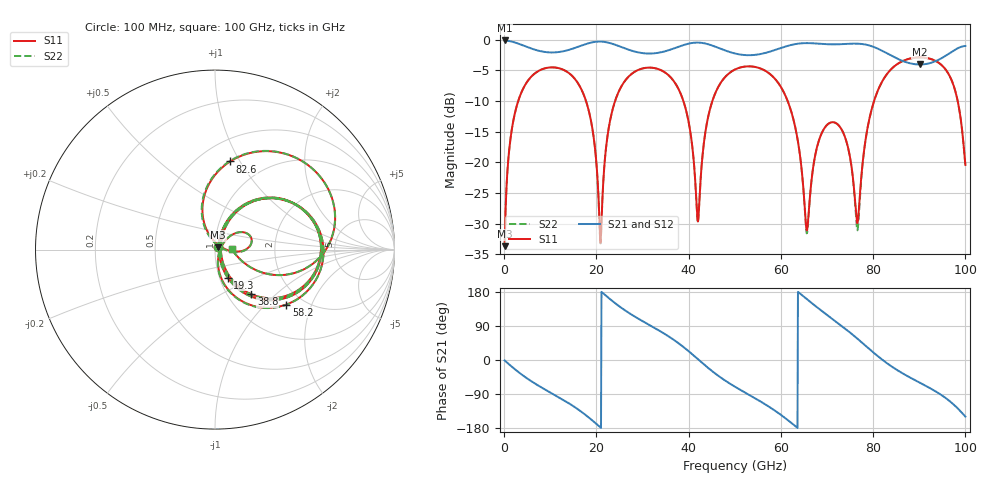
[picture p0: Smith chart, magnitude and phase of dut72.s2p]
! Touchstone file exported from HFSS 2026.1.0
!  File:  C:/ffzhzh/LocalFiles/Ansys_Project_Files/temp_train_TSV_RDL_72_1783449331_7600.aedt
!  Generated:  02:47:56 AM Jul  8, 2026
!  Design:  TSV_RDL
!  Project:  temp_train_TSV_RDL_72_1783449331_7600
! Variables:
!  h_bsmrdl = 3.91um
!  h_ox = 20um
!  h_rdl = 5um
!  h_sub = 68.58um
!  h_tmrdl = 2.14um
!  h_tsv = 68.58um
!  h_via = 3um
!  l_bsmrdl = 343.82um
!  l_sub = 2887.58um
!  l_tmrdl = 334.66um
!  m_sub = 200um
!  pitch = 57.7um
!  r_tsv = 10.38um
!  s_tmrdl = 10um
!  w_bsmrdl = 14.69um
!  w_sub = 500um
!  w_tmrdl = 24.47um
!  x_tsv_center1 = 346.895um
!  x_tsv_center2 = 705.405um
!  x_tsv_center3 = 1064.535um
!  x_tsv_center4 = 1423.045um
!  x_tsv_center5 = 1782.175um
!  x_tsv_center6 = 2140.685um
# GHz S MA R 50.000000
! Terminal data exported
! Port[1] = TM_RDL1_1_T1
! Port[2] = TM_RDL5_1_T1
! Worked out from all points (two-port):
!   1000 points, 100 MHz to 100 GHz, reference 50 ohm
!   highest |S21| = -0.15 dB at 100 MHz (marker M1); lowest = -4.1 dB at 90.1 GHz (marker M2)
!   |S21| within 3 dB of the highest: start of sweep to 85.33 GHz; 94.57 GHz to end of sweep
!   lowest |S11| = -33.7 dB at 100 MHz (marker M3), VSWR 1.04, Z = 51.7 + j1.23 ohm
!   |S11| at or under -10 dB: 17.74 GHz to 24.06 GHz (6.323 GHz wide, 30.3 % of centre); 38.85 GHz to 45.15 GHz (6.303 GHz wide, 15 % of centre); 61.46 GHz to 80.21 GHz (18.75 GHz wide, 26.5 % of centre) (the widest 3 of 5)
!   |S22| runs from -33.7 to -2.9 dB; largest |S21 - S12| = 5.8e-11
!   S11 on the Smith chart (normalised r, x): 100 MHz: 1.03, +0.02; 19.3 GHz: 1.09, -0.35; 38.8 GHz: 1.28, -0.71; 58.2 GHz: 1.64, -1.34; 82.6 GHz: 0.70, +0.91; 100 GHz: 1.21, +0.00
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0.1  0.02068 35.0  0.9832 -1.1  0.9832 -1.1  0.02068 35.0
! Gamma 0 0 0 0
! Port Impedance 50 0 50 0
1.6  0.179 66.2  0.9629 -17.0  0.9629 -17.0  0.179 66.2
4.5  0.4234 42.6  0.8841 -44.5  0.8841 -44.5  0.4234 42.5
16.8  0.3888 -46.0  0.8942 -137.1  0.8942 -137.1  0.3889 -46.1
19.3  0.1708 -65.6  0.9518 -161.4  0.9518 -161.4  0.1708 -65.7
20.9  0.02202 4.7  0.9625 -178.1  0.9625 -178.1  0.02177 4.6
24.5  0.351 51.8  0.8955 145.8  0.8955 145.8  0.351 51.8
33.4  0.5747 -11.0  0.7797 79.1  0.7797 79.1  0.5748 -11.1
38.8  0.3202 -50.9  0.8996 35.1  0.8996 35.1  0.3202 -51.1
42  0.03284 1.3  0.9447 2.3  0.9447 2.3  0.03222 1.1
44.8  0.2863 56.8  0.9019 -26.6  0.9019 -26.6  0.2862 56.8
50.1  0.5711 17.3  0.7689 -70.9  0.7689 -70.9  0.5712 17.2
58.2  0.5013 -37.6  0.8099 -129.5  0.8099 -129.5  0.5013 -37.9
65.5  0.02916 -34.4  0.9355 161.8  0.9355 161.8  0.02774 -35.6
66.7  0.07489 40.7  0.9333 150.0  0.9333 150.0  0.0744 41.4
72.2  0.2052 10.0  0.9144 98.9  0.9144 98.9  0.2051 9.5
76.6  0.03194 55.5  0.9258 56.2  0.9258 56.2  0.02783 55.2
82.6  0.4987 80.2  0.7865 -4.9  0.7865 -4.9  0.498 80.8
83.4  0.5467 73.8  0.7579 -12.0  0.7579 -12.0  0.546 74.3
90.1  0.7157 29.7  0.6261 -59.8  0.6261 -59.8  0.7152 29.9
96.8  0.4858 -14.4  0.7838 -110.6  0.7838 -110.6  0.4854 -14.4
100  0.09496 0.6  0.8865 -149.4  0.8865 -149.4  0.0939 0.5
